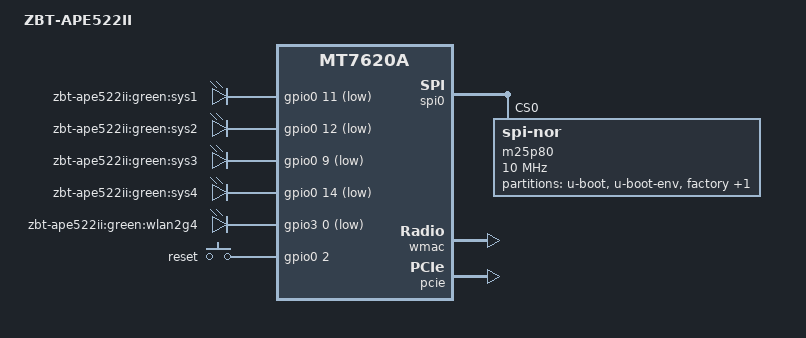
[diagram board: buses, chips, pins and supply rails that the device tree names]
/dts-v1/;

#include "mt7620a.dtsi"

#include <dt-bindings/gpio/gpio.h>
#include <dt-bindings/input/input.h>

/ {
	compatible = "zbtlink,zbt-ape522ii", "ralink,mt7620a-soc";
	model = "ZBT-APE522II";

	chosen {
		bootargs = "console=ttyS0,115200";
	};

	gpio-leds {
		compatible = "gpio-leds";

		sys1 {
			label = "zbt-ape522ii:green:sys1";
			gpios = <&gpio0 11 GPIO_ACTIVE_LOW>;
		};

		sys2 {
			label = "zbt-ape522ii:green:sys2";
			gpios = <&gpio0 12 GPIO_ACTIVE_LOW>;
		};

		sys3 {
			label = "zbt-ape522ii:green:sys3";
			gpios = <&gpio0 9 GPIO_ACTIVE_LOW>;
		};

		sys4 {
			label = "zbt-ape522ii:green:sys4";
			gpios = <&gpio0 14 GPIO_ACTIVE_LOW>;
		};

		wlan2g4 {
			label = "zbt-ape522ii:green:wlan2g4";
			gpios = <&gpio3 0 GPIO_ACTIVE_LOW>;
		};
	};

	gpio-keys-polled {
		compatible = "gpio-keys-polled";
		poll-interval = <20>;

		reset {
			label = "reset";
			gpios = <&gpio0 2 GPIO_ACTIVE_HIGH>;
			linux,code = <KEY_RESTART>;
		};
	};
};

&gpio0 {
	status = "okay";
};

&gpio1 {
	status = "okay";
};

&gpio2 {
	status = "okay";
};

&gpio3 {
	status = "okay";
};

&spi0 {
	status = "okay";

	m25p80@0 {
		compatible = "jedec,spi-nor";
		reg = <0>;
		spi-max-frequency = <10000000>;

		partitions {
			compatible = "fixed-partitions";
			#address-cells = <1>;
			#size-cells = <1>;

			partition@0 {
				label = "u-boot";
				reg = <0x0 0x30000>;
			};

			partition@30000 {
				label = "u-boot-env";
				reg = <0x30000 0x10000>;
				read-only;
			};

			factory: partition@40000 {
				label = "factory";
				reg = <0x40000 0x10000>;
				read-only;
			};

			partition@50000 {
				compatible = "denx,uimage";
				label = "firmware";
				reg = <0x50000 0xf80000>;
			};
		};
	};
};

&ethernet {
	pinctrl-names = "default";
	pinctrl-0 = <&ephy_pins>;
	mtd-mac-address = <&factory 0x4>;
	mediatek,portmap = "wllll";
};

&wmac {
	ralink,mtd-eeprom = <&factory 0>;
	pinctrl-names = "default";
	pinctrl-0 = <&pa_pins>;
};

&pcie {
	status = "okay";
};

&pcie0 {
	mt76@0,0 {
		reg = <0x0000 0 0 0 0>;
		mediatek,mtd-eeprom = <&factory 0x8000>;
		ieee80211-freq-limit = <5000000 6000000>;
	};
};

&pinctrl {
	state_default: pinctrl0 {
		gpio {
			ralink,group = "wled", "i2c", "uartf", "wdt";
			ralink,function = "gpio";
		};
	};
};
